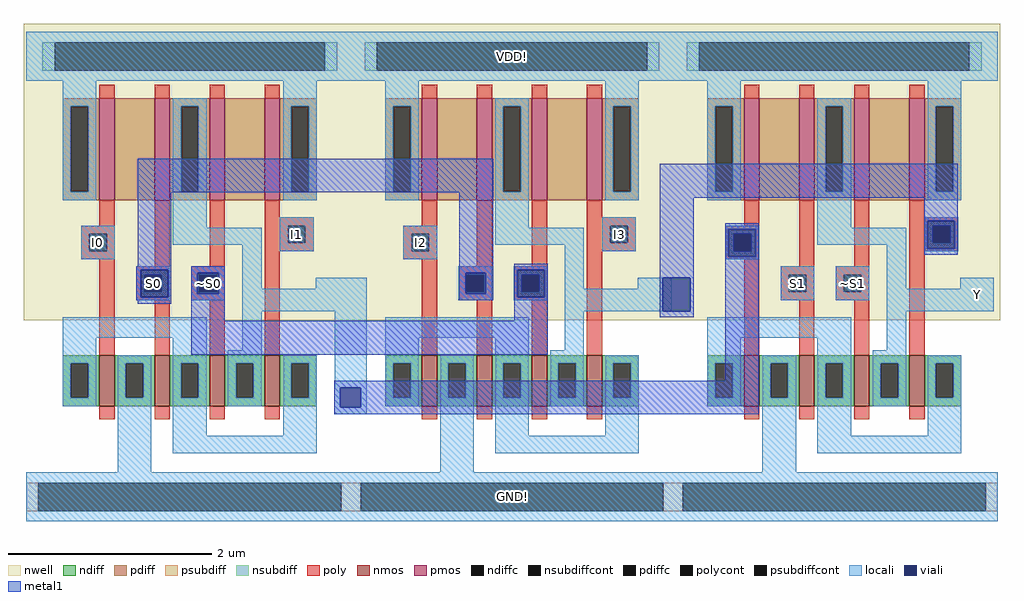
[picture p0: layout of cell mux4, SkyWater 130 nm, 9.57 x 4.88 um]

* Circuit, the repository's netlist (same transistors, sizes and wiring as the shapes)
* NGSPICE file created from mux4.ext - technology: sky130A

.subckt mux2 I1 I0 S0 VDD GND Y ~S0
X0 GND I0 a_72_226# GND sky130_fd_pr__nfet_01v8 ad=0.0975 pd=0.89 as=0.18 ps=1.72 w=0.5 l=0.15
X1 a_72_226# S0 GND GND sky130_fd_pr__nfet_01v8 ad=0.0975 pd=0.89 as=0.0975 ps=0.89 w=0.5 l=0.15
X2 Y ~S0 a_72_226# GND sky130_fd_pr__nfet_01v8 ad=0.0975 pd=0.89 as=0.0975 ps=0.89 w=0.5 l=0.15
X3 a_174_630# I0 VDD VDD sky130_fd_pr__pfet_01v8 ad=0.195 pd=1.39 as=0.36 ps=2.72 w=1 l=0.15
X4 Y S0 a_174_630# VDD sky130_fd_pr__pfet_01v8 ad=0.195 pd=1.39 as=0.195 ps=1.39 w=1 l=0.15
X5 a_72_226# I1 Y GND sky130_fd_pr__nfet_01v8 ad=0.18 pd=1.72 as=0.0975 ps=0.89 w=0.5 l=0.15
X6 a_390_630# ~S0 Y VDD sky130_fd_pr__pfet_01v8 ad=0.195 pd=1.39 as=0.195 ps=1.39 w=1 l=0.15
X7 VDD I1 a_390_630# VDD sky130_fd_pr__pfet_01v8 ad=0.36 pd=2.72 as=0.195 ps=1.39 w=1 l=0.15
.ends

*.subckt mux4 I0 I1 I2 I3 S0 ~S0 S1 ~S1 Y
Xmux2_0 I1 I0 S0 VDD GND mux2_0/Y ~S0 mux2
Xmux2_1 I3 I2 S0 VDD GND mux2_1/Y ~S0 mux2
Xmux2_2 mux2_1/Y mux2_0/Y S1 VDD GND Y ~S1 mux2
*.ends

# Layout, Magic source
magic
tech sky130A
magscale 1 2
<< locali >>
rect 4 864 1910 958
rect 112 514 178 580
rect 502 530 568 596
rect 744 514 810 580
rect 1134 530 1200 596
rect 572 412 672 478
rect 1204 412 1253 478
rect 1484 434 1550 500
rect 1592 434 1658 500
rect 1836 412 1902 478
rect 609 262 672 412
rect 608 224 620 262
rect 660 224 672 262
rect 608 210 672 224
rect 4 2 1910 96
<< viali >>
rect 1381 519 1435 573
rect 1771 535 1825 589
rect 229 439 283 493
rect 340 446 382 488
rect 866 446 906 488
rect 967 439 1021 493
rect 1253 412 1307 478
rect 620 224 660 262
<< metal1 >>
rect 223 645 920 711
rect 223 500 289 645
rect 220 493 289 500
rect 220 439 229 493
rect 283 439 289 493
rect 220 434 289 439
rect 223 427 289 434
rect 328 488 394 500
rect 328 446 340 488
rect 382 446 394 488
rect 328 393 394 446
rect 854 488 920 645
rect 1247 635 1831 701
rect 854 446 866 488
rect 906 446 920 488
rect 854 434 920 446
rect 961 493 1027 505
rect 961 439 967 493
rect 1021 439 1027 493
rect 961 393 1027 439
rect 1247 478 1313 635
rect 1765 589 1831 635
rect 1247 412 1253 478
rect 1307 412 1313 478
rect 1247 400 1313 412
rect 1375 573 1441 585
rect 1375 519 1381 573
rect 1435 519 1441 573
rect 1765 535 1771 589
rect 1825 535 1831 589
rect 1765 523 1831 535
rect 328 327 1027 393
rect 1375 276 1441 519
rect 608 262 1441 276
rect 608 224 620 262
rect 660 224 1441 262
rect 608 210 1441 224
use mux2  mux2_0 ~/magic/library/mag
transform 1 0 4 0 1 0
box -4 0 646 976
use mux2  mux2_1
transform 1 0 636 0 1 0
box -4 0 646 976
use mux2  mux2_2
transform 1 0 1268 0 1 0
box -4 0 646 976
<< labels >>
flabel locali 4 2 1910 96 0 FreeSerif 160 0 0 0 GND!
flabel locali 112 514 178 580 0 FreeSerif 160 0 0 0 I0
port 3 nsew
flabel locali 502 530 568 596 0 FreeSerif 160 0 0 0 I1
port 4 nsew
flabel locali 744 514 810 580 0 FreeSerif 160 0 0 0 I2
port 5 nsew
flabel locali 1134 530 1200 596 0 FreeSerif 160 0 0 0 I3
port 6 nsew
flabel metal1 220 434 286 500 0 FreeSerif 160 0 0 0 S0
port 7 nsew
flabel metal1 328 434 394 500 0 FreeSerif 160 0 0 0 ~S0
port 8 nsew
flabel locali 1484 434 1550 500 0 FreeSerif 160 0 0 0 S1
port 9 nsew
flabel locali 1592 434 1658 500 0 FreeSerif 160 0 0 0 ~S1
port 10 nsew
flabel locali 1836 412 1902 478 0 FreeSerif 160 0 0 0 Y
port 11 nsew
flabel locali 4 864 1910 958 0 FreeSerif 160 0 0 0 VDD!
<< end >>

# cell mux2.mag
magic
tech sky130A
<< nwell >>
rect -2 197 323 488
<< nmos >>
rect 72 113 87 163
rect 126 113 141 163
rect 180 113 195 163
rect 234 113 249 163
<< pmos >>
rect 72 315 87 415
rect 126 315 141 415
rect 180 315 195 415
rect 234 315 249 415
<< ndiff >>
rect 36 155 72 163
rect 36 121 44 155
rect 61 121 72 155
rect 36 113 72 121
rect 87 155 126 163
rect 87 121 98 155
rect 115 121 126 155
rect 87 113 126 121
rect 141 155 180 163
rect 141 121 152 155
rect 169 121 180 155
rect 141 113 180 121
rect 195 155 234 163
rect 195 121 206 155
rect 223 121 234 155
rect 195 113 234 121
rect 249 155 285 163
rect 249 121 260 155
rect 277 121 285 155
rect 249 113 285 121
<< pdiff >>
rect 36 407 72 415
rect 36 323 44 407
rect 61 323 72 407
rect 36 315 72 323
rect 87 315 126 415
rect 141 407 180 415
rect 141 323 152 407
rect 169 323 180 407
rect 141 315 180 323
rect 195 315 234 415
rect 249 407 285 415
rect 249 323 260 407
rect 277 323 285 407
rect 249 315 285 323
<< ndiffc >>
rect 44 121 61 155
rect 98 121 115 155
rect 152 121 169 155
rect 206 121 223 155
rect 260 121 277 155
<< pdiffc >>
rect 44 323 61 407
rect 152 323 169 407
rect 260 323 277 407
<< psubdiff >>
rect 0 10 12 38
rect 309 10 321 38
<< nsubdiff >>
rect 16 442 28 470
rect 293 442 305 470
<< psubdiffcont >>
rect 12 10 309 38
<< nsubdiffcont >>
rect 28 442 293 470
<< poly >>
rect 72 415 87 428
rect 126 415 141 428
rect 180 415 195 428
rect 234 415 249 428
rect 72 290 87 315
rect 54 282 87 290
rect 54 265 62 282
rect 79 265 87 282
rect 54 257 87 265
rect 72 163 87 257
rect 126 250 141 315
rect 180 250 195 315
rect 108 242 141 250
rect 108 225 116 242
rect 133 225 141 242
rect 108 217 141 225
rect 162 242 195 250
rect 162 225 170 242
rect 187 225 195 242
rect 162 217 195 225
rect 126 163 141 217
rect 180 163 195 217
rect 234 298 249 315
rect 234 290 282 298
rect 234 273 257 290
rect 274 273 282 290
rect 234 265 282 273
rect 234 163 249 265
rect 72 100 87 113
rect 126 100 141 113
rect 180 100 195 113
rect 234 100 249 113
<< polycont >>
rect 62 265 79 282
rect 116 225 133 242
rect 170 225 187 242
rect 257 273 274 290
<< locali >>
rect 0 470 321 480
rect 0 442 28 470
rect 293 442 321 470
rect 0 432 321 442
rect 36 407 69 432
rect 36 323 44 407
rect 61 323 69 407
rect 36 315 69 323
rect 144 407 177 415
rect 144 323 152 407
rect 169 323 177 407
rect 54 282 87 290
rect 54 265 62 282
rect 79 265 87 282
rect 144 288 177 323
rect 252 407 285 432
rect 252 323 260 407
rect 277 323 285 407
rect 252 315 285 323
rect 249 290 282 298
rect 144 271 231 288
rect 54 257 87 265
rect 108 242 141 250
rect 108 225 116 242
rect 133 225 141 242
rect 108 217 141 225
rect 162 242 195 250
rect 162 225 170 242
rect 187 225 195 242
rect 162 217 195 225
rect 212 228 231 271
rect 249 273 257 290
rect 274 273 282 290
rect 249 265 282 273
rect 284 228 317 239
rect 212 206 317 228
rect 36 180 177 200
rect 36 155 69 180
rect 36 121 44 155
rect 61 121 69 155
rect 36 113 69 121
rect 90 155 123 163
rect 90 121 98 155
rect 115 121 123 155
rect 90 48 123 121
rect 144 155 177 180
rect 212 168 231 206
rect 144 121 152 155
rect 169 121 177 155
rect 144 84 177 121
rect 198 155 231 168
rect 198 121 206 155
rect 223 121 231 155
rect 198 113 231 121
rect 252 155 285 163
rect 252 121 260 155
rect 277 121 285 155
rect 252 84 285 121
rect 144 67 285 84
rect 0 38 321 48
rect 0 10 12 38
rect 309 10 321 38
rect 0 0 321 10
<< labels >>
flabel pdiff 72 365 72 365 1 FreeSerif 8 0 0 0 S$
flabel pdiff 195 365 195 365 1 FreeSerif 8 0 0 0 S$
flabel pdiff 249 365 249 365 1 FreeSerif 8 0 0 0 S$
flabel pdiff 126 363 126 363 1 FreeSerif 8 0 0 0 S$
flabel ndiff 87 135 87 135 1 FreeSerif 8 0 0 0 S$
flabel ndiff 126 137 126 137 1 FreeSerif 8 0 0 0 S$
flabel ndiff 180 137 180 137 1 FreeSerif 8 0 0 0 S$
flabel ndiff 249 138 249 138 1 FreeSerif 8 0 0 0 S$
flabel locali 249 265 282 298 0 FreeSerif 80 0 0 0 I1
port 1 nsew
flabel locali 162 217 195 250 0 FreeSerif 80 0 0 0 ~S0
port 14 nsew
flabel locali 108 217 141 250 0 FreeSerif 80 0 0 0 S0
port 4 nsew
flabel locali 54 257 87 290 0 FreeSerif 80 0 0 0 I0
port 2 nsew
flabel locali 284 206 317 239 0 FreeSerif 80 0 0 0 Y
port 11 nsew
flabel locali 0 432 321 480 0 FreeSerif 80 0 0 0 VDD!
port 9 nsew
flabel locali 0 0 321 48 0 FreeSerif 80 0 0 0 GND!
port 10 nsew
<< end >>
